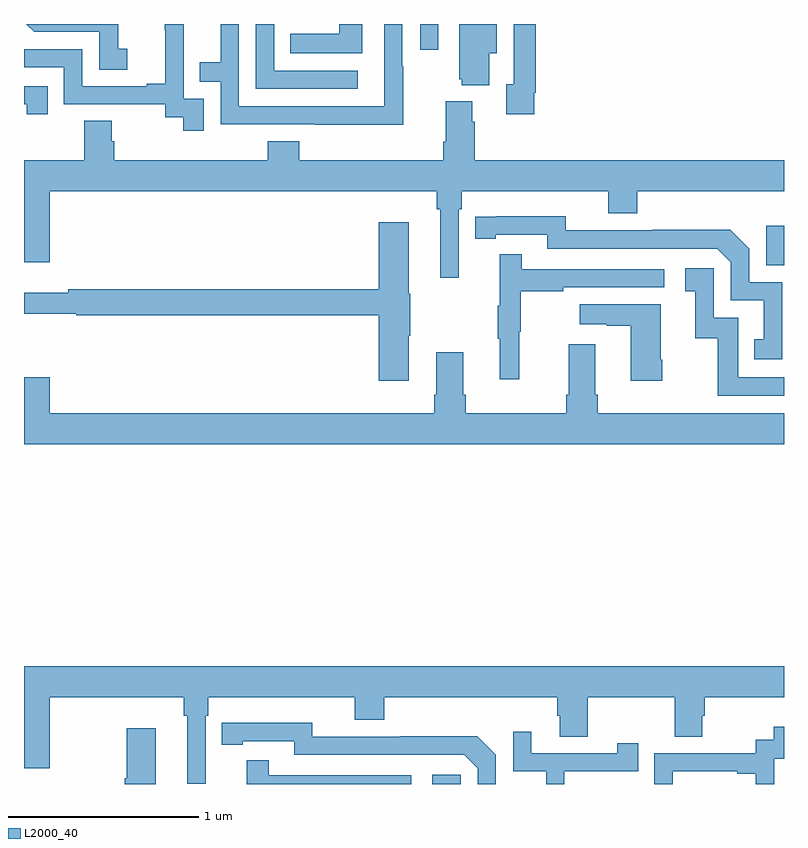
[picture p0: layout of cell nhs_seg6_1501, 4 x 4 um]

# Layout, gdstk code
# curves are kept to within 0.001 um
import gdstk
lib = gdstk.Library(unit=1e-6, precision=1e-09)
def R(c, l, rs):  # rectangles x0, y0, x1, y1
    for r in rs: c.add(gdstk.rectangle(r[:2], r[2:], *l))
def P(c, l, *ps):  # polygons
    for p in ps: c.add(gdstk.Polygon(p, *l))
L2000_40 = (2000, 40)

nhs_seg6_1501 = lib.new_cell('nhs_seg6_1501')
R(nhs_seg6_1501, L2000_40, [(203.148,993.5,203.298,993.55), (204.906,996.231,205,996.439), (203.085,997.365,203.181,997.5)])
P(nhs_seg6_1501, L2000_40, [(202.995,997.277),(202.992,997.277),(202.992,997.5),(202.896,997.5),(202.896,997.068),(202.131,997.068),(202.131,997.5),(202.035,997.5),(202.035,997.298),(201.925,997.298),(201.925,997.197),(202.035,997.197),(202.035,996.972),(202.531,996.972),(202.531,996.971),(202.995,996.971)],
  [(201.544,997.369),(201.495,997.369),(201.495,997.5),(201.012,997.5),(201.054,997.458),(201.396,997.458),(201.396,997.26),(201.544,997.26)],
  [(202.756,997.254),(202.317,997.254),(202.317,997.5),(202.221,997.5),(202.221,997.158),(202.756,997.158)],
  [(203.449,997.346),(203.488,997.346),(203.488,997.5),(203.291,997.5),(203.291,997.209),(203.303,997.209),(203.303,997.178),(203.449,997.178)],
  [(203.686,997.138),(203.693,997.138),(203.693,997.5),(203.577,997.5),(203.577,997.182),(203.537,997.182),(203.537,997.026),(203.686,997.026)],
  [(201.945,997.107),(201.84,997.107),(201.84,997.337),(201.842,997.337),(201.842,997.5),(201.742,997.5),(201.742,997.469),(201.743,997.469),(201.743,997.186),(201.647,997.186),(201.647,997.173),(201.306,997.173),(201.306,997.368),(201,997.368),(201,997.272),(201.21,997.272),(201.21,997.077),(201.744,997.077),(201.744,997.009),(201.837,997.009),(201.837,996.939),(201.945,996.939)],
  [(202.78,997.5),(202.659,997.5),(202.659,997.45),(202.402,997.45),(202.402,997.346),(202.78,997.346)],
  [(201.125,997.173),(201,997.173),(201,997.077),(201.014,997.077),(201.014,997.026),(201.125,997.026)],
  [(203.289,996.524),(203.303,996.524),(203.303,996.62),(204.074,996.62),(204.074,996.503),(204.227,996.503),(204.227,996.62),(205,996.62),(205,996.784),(203.372,996.784),(203.372,996.986),(203.359,996.986),(203.359,997.093),(203.219,997.093),(203.219,996.88),(203.207,996.88),(203.207,996.784),(202.448,996.784),(202.448,996.883),(202.283,996.883),(202.283,996.784),(201.476,996.784),(201.476,996.882),(201.463,996.882),(201.463,996.992),(201.316,996.992),(201.316,996.784),(201,996.784),(201,996.246),(201.136,996.246),(201.136,996.62),(203.173,996.62),(203.173,996.524),(203.192,996.524),(203.192,996.165),(203.289,996.165)],
  [(204.99,996.141),(204.816,996.141),(204.816,996.318),(204.718,996.416),(204.31,996.416),(204.31,996.414),(203.85,996.414),(203.85,996.487),(203.374,996.486),(203.374,996.37),(203.482,996.37),(203.482,996.39),(203.754,996.39),(203.754,996.318),(204.648,996.318),(204.72,996.246),(204.72,996.045),(204.893,996.045),(204.893,995.841),(204.844,995.841),(204.844,995.736),(204.99,995.736)],
  [(203.026,995.86),(203.034,995.86),(203.034,996.081),(203.026,996.081),(203.026,996.457),(202.868,996.457),(202.868,996.104),(201.232,996.104),(201.232,996.085),(201,996.085),(201,995.976),(201.276,995.976),(201.276,995.968),(202.868,995.968),(202.868,995.622),(203.026,995.622)],
  [(203.606,995.88),(203.614,995.88),(203.614,996.094),(203.837,996.094),(203.837,996.114),(204.37,996.114),(204.37,996.21),(203.621,996.21),(203.621,996.289),(203.504,996.289),(203.504,996.017),(203.493,996.017),(203.493,995.843),(203.504,995.843),(203.504,995.631),(203.606,995.631)],
  [(205,995.64),(204.759,995.64),(204.759,995.955),(204.63,995.955),(204.63,996.214),(204.48,996.214),(204.48,996.093),(204.533,996.093),(204.533,995.847),(204.651,995.847),(204.651,995.544),(205,995.544)],
  [(204.36,995.734),(204.352,995.734),(204.352,996.025),(203.925,996.025),(203.925,995.921),(204.068,995.921),(204.068,995.911),(204.194,995.911),(204.194,995.622),(204.36,995.622)],
  [(205,995.452),(204.02,995.452),(204.02,995.548),(204.007,995.548),(204.007,995.815),(203.867,995.815),(203.867,995.548),(203.855,995.548),(203.855,995.452),(203.324,995.452),(203.324,995.548),(203.311,995.548),(203.311,995.773),(203.171,995.773),(203.171,995.548),(203.159,995.548),(203.159,995.452),(201.136,995.452),(201.136,995.641),(201,995.641),(201,995.288),(205,995.288)],
  [(201.957,993.86),(201.971,993.86),(201.971,993.956),(202.742,993.956),(202.742,993.839),(202.895,993.839),(202.895,993.956),(203.807,993.956),(203.807,993.858),(203.819,993.858),(203.819,993.748),(203.967,993.748),(203.967,993.956),(204.424,993.956),(204.424,993.748),(204.571,993.748),(204.571,993.858),(204.584,993.858),(204.584,993.956),(205,993.956),(205,994.12),(201,994.12),(201,993.582),(201.136,993.582),(201.136,993.956),(201.841,993.956),(201.841,993.86),(201.86,993.86),(201.86,993.501),(201.957,993.501)],
  [(203.484,993.654),(203.386,993.752),(202.978,993.752),(202.978,993.75),(202.518,993.75),(202.518,993.823),(202.042,993.822),(202.042,993.706),(202.15,993.706),(202.15,993.726),(202.422,993.726),(202.422,993.654),(203.316,993.654),(203.388,993.582),(203.388,993.5),(203.484,993.5)],
  [(204.414,993.567),(204.755,993.567),(204.755,993.555),(204.851,993.555),(204.851,993.5),(204.948,993.5),(204.948,993.633),(205,993.633),(205,993.802),(204.945,993.802),(204.945,993.732),(204.852,993.732),(204.852,993.663),(204.318,993.663),(204.318,993.5),(204.414,993.5)],
  [(201.694,993.793),(201.541,993.793),(201.541,993.529),(201.53,993.529),(201.53,993.5),(201.694,993.5)],
  [(203.844,993.567),(204.233,993.567),(204.233,993.715),(204.122,993.715),(204.122,993.663),(203.671,993.663),(203.671,993.775),(203.574,993.775),(203.574,993.567),(203.748,993.567),(203.748,993.5),(203.844,993.5)],
  [(203.038,993.546),(202.289,993.546),(202.289,993.625),(202.172,993.625),(202.172,993.5),(203.038,993.5)])

lib.write_gds('nhs_seg6_1501.gds')
